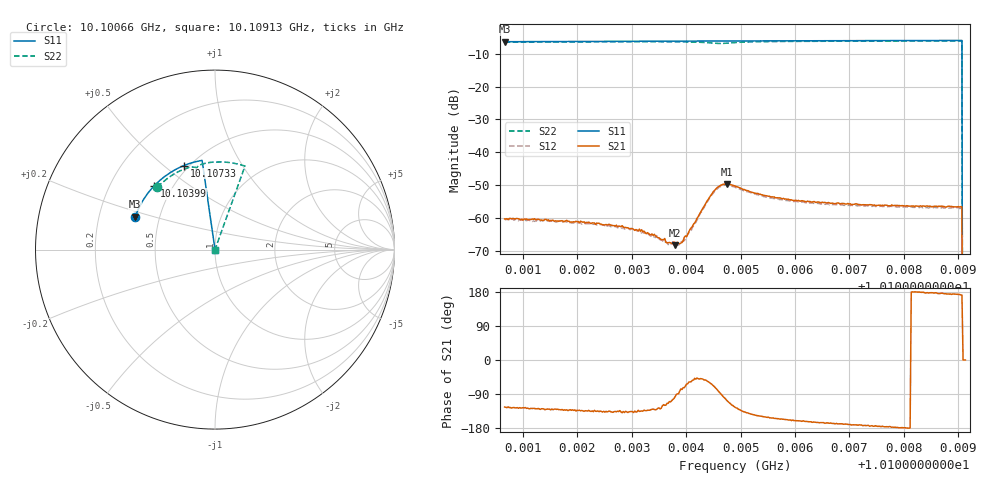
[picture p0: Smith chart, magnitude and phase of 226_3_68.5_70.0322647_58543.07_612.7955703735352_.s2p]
#  HZ  S  RI  R  50.00
! Rohde & Schwarz Vector Network Analyzer
! Rohde-Schwarz,ZNB20-2Port,1311601062101988,3.16
! Created: UTC 3/20/2024, 4:58:45 PM
! freq[Hz]  re:S11  im:S11  re:S21  im:S21  re:S12  im:S12  re:S22  im:S22
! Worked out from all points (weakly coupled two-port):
!   401 points, 10.10066 GHz to 10.10913 GHz, reference 50 ohm
!   highest |S21| = -49.60 dB at 10.10475 GHz (marker M1); lowest = -68.3 dB at 10.10379 GHz (marker M2)
!   lowest |S11| = -6.4 dB at 10.10066 GHz (marker M3), VSWR 2.85, Z = 18.1 + j8.69 ohm
!   |S11| at or under -10 dB: 10.10907 GHz to end of sweep
!   |S22| runs from - to -6.1 dB; largest |S21 - S12| = 0.00033
!   S11 on the Smith chart (normalised r, x): 10.10066 GHz: 0.36, +0.17; 10.10399 GHz: 0.40, +0.37; 10.10733 GHz: 0.47, +0.59; 10.10913 GHz: 1.00, +0.00
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1.0100661e10  -0.444 0.1841  -0.000547 -0.000807  -0.000506 -0.000826  -0.3212 0.3476
1.010208e10  -0.408 0.2627  -0.000604 -0.000642  -0.000515 -0.000632  -0.2507 0.4064
1.01028e10  -0.3847 0.2996  -0.000544 -0.000509  -0.000476 -0.000544  -0.2101 0.431
1.0103033e10  -0.3763 0.3111  -0.000505 -0.000446  -0.000447 -0.000488  -0.1961 0.438
1.0103181e10  -0.3709 0.3182  -0.000469 -0.000478  -0.000389 -0.000457  -0.187 0.4423
1.0103498e10  -0.3586 0.3331  -0.0003 -0.000406  -0.000271 -0.000406  -0.1667 0.4504
1.0103625e10  -0.3536 0.3391  -0.000209 -0.000378  -0.000149 -0.000409  -0.1582 0.4532
1.0103795e10  -0.3469 0.3469  -4.64e-05 -0.000383  -5.9e-06 -0.000376  -0.1464 0.4568
1.0103837e10  -0.3451 0.3487  4.93e-06 -0.000431  3.54e-05 -0.00039  -0.1432 0.4574
1.0103901e10  -0.3424 0.3515  9.85e-05 -0.000409  0.000126 -0.000416  -0.1386 0.4585
1.0103985e10  -0.3389 0.3552  0.000197 -0.000501  0.000235 -0.000428  -0.132 0.4595
1.0104134e10  -0.3327 0.3616  0.00049 -0.000647  0.000523 -0.000564  -0.1203 0.4599
1.0104494e10  -0.3168 0.3766  0.000961 -0.00232  0.0011 -0.00212  -0.0964 0.4464
1.0104621e10  -0.3113 0.3817  0.000164 -0.00312  0.000439 -0.00297  -0.0993 0.4408
1.0104748e10  -0.3055 0.3868  -0.00097 -0.00317  -0.000684 -0.00311  -0.1045 0.4447
1.0104896e10  -0.2988 0.3926  -0.00175 -0.00255  -0.00145 -0.00257  -0.1024 0.4553
1.0105468e10  -0.2713 0.4138  -0.00192 -0.00107  -0.00173 -0.00118  -0.0654 0.4781
1.0106315e10  -0.2282 0.4415  -0.00169 -0.000471  -0.00159 -0.000638  -0.008 0.4875
1.0107331e10  -0.1727 0.4683  -0.00158 -0.000209  -0.00151 -0.000329  0.0585 0.4873
1.0107733e10  -0.15 0.4768  -0.00154 -0.000121  -0.00149 -0.000226  0.0841 0.4845
1.0109025e10  -0.0745 0.4966  -0.00147 0.000184  -0.0014 5.55e-06  0.1646 0.466
1.0109131e10  0 0  0 0  0 0  0 0
